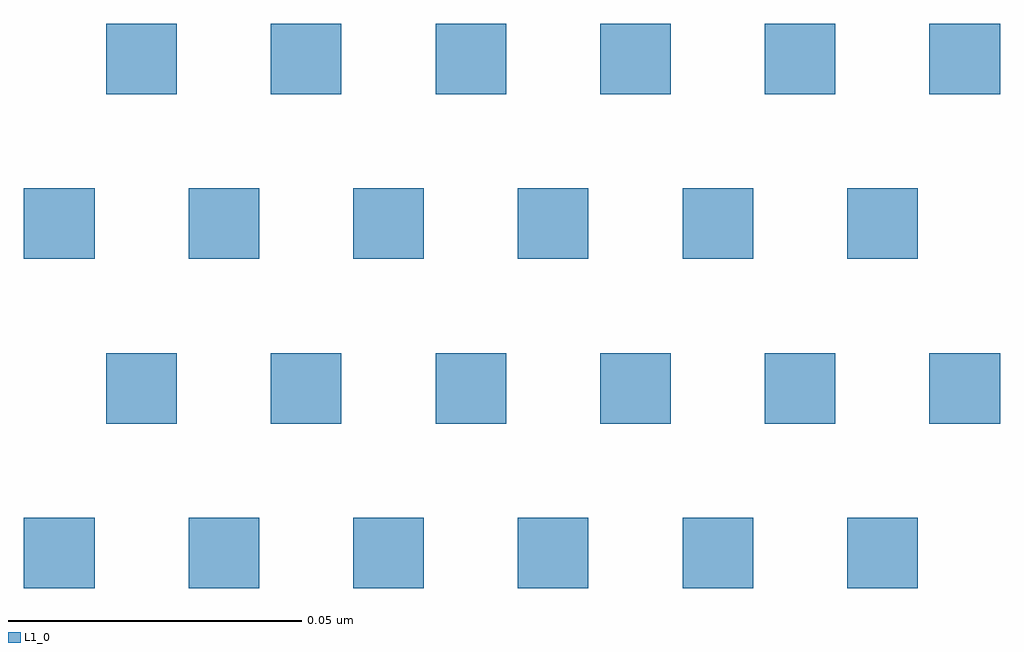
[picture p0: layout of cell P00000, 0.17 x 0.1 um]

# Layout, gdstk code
import gdstk
lib = gdstk.Library(unit=1e-6, precision=1e-10)
def R(c, l, rs):  # rectangles x0, y0, x1, y1
    for r in rs: c.add(gdstk.rectangle(r[:2], r[2:], *l))
def A(c, l, x, y, w, h, nx, ny, dx, dy):  # array of equal rectangles
    R(c, l, [(x+i*dx, y+j*dy, x+i*dx+w, y+j*dy+h) for i in range(nx) for j in range(ny)])
L1_0 = (1, 0)

p00000 = lib.new_cell('P00000')
A(p00000, L1_0, 0, 0, 0.012, 0.012, 6, 2, 0.028, 0.056)
A(p00000, L1_0, 0.014, 0.028, 0.012, 0.012, 6, 2, 0.028, 0.056)

lib.write_gds('P00000.gds')
